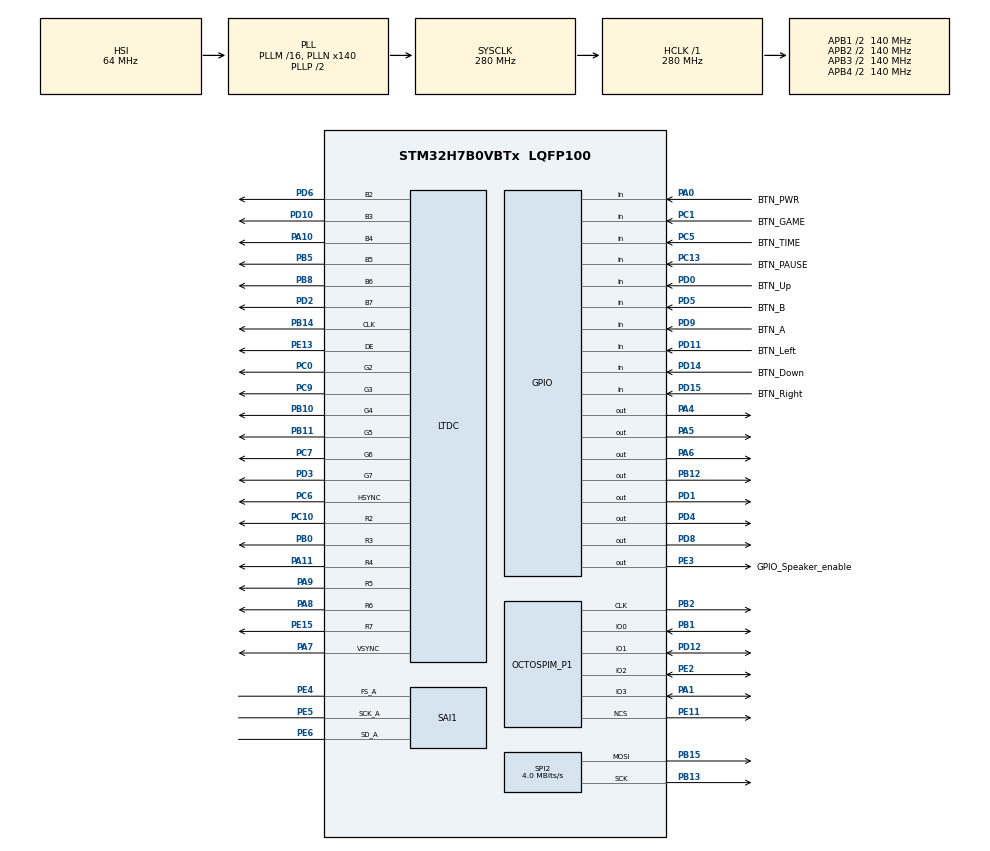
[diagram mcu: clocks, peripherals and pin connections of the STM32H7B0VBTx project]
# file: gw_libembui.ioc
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CORTEX_M7.AccessPermission-Cortex_Memory_Protection_Unit_Region0_Settings=MPU_REGION_FULL_ACCESS
CORTEX_M7.AccessPermission-Cortex_Memory_Protection_Unit_Region1_Settings=MPU_REGION_FULL_ACCESS
CORTEX_M7.BaseAddress-Cortex_Memory_Protection_Unit_Region0_Settings=0x30000000
CORTEX_M7.BaseAddress-Cortex_Memory_Protection_Unit_Region1_Settings=0x24000000
CORTEX_M7.CPU_ICache=Disabled
CORTEX_M7.DisableExec-Cortex_Memory_Protection_Unit_Region0_Settings=MPU_INSTRUCTION_ACCESS_DISABLE
CORTEX_M7.DisableExec-Cortex_Memory_Protection_Unit_Region1_Settings=MPU_INSTRUCTION_ACCESS_DISABLE
CORTEX_M7.Enable-Cortex_Memory_Protection_Unit_Region0_Settings=MPU_REGION_ENABLE
CORTEX_M7.Enable-Cortex_Memory_Protection_Unit_Region1_Settings=MPU_REGION_ENABLE
CORTEX_M7.MPU_Control=MPU_HFNMI_PRIVDEF
CORTEX_M7.Size-Cortex_Memory_Protection_Unit_Region0_Settings=MPU_REGION_SIZE_128KB
CORTEX_M7.Size-Cortex_Memory_Protection_Unit_Region1_Settings=MPU_REGION_SIZE_512KB
Dma.Request0=SAI1_A
Dma.SAI1_A.0.Direction=DMA_MEMORY_TO_PERIPH
Dma.SAI1_A.0.EventEnable=DISABLE
Dma.SAI1_A.0.FIFOMode=DMA_FIFOMODE_ENABLE
Dma.SAI1_A.0.FIFOThreshold=DMA_FIFO_THRESHOLD_FULL
Dma.SAI1_A.0.Instance=DMA1_Stream0
Dma.SAI1_A.0.MemBurst=DMA_MBURST_SINGLE
Dma.SAI1_A.0.MemDataAlignment=DMA_MDATAALIGN_HALFWORD
Dma.SAI1_A.0.MemInc=DMA_MINC_ENABLE
Dma.SAI1_A.0.Mode=DMA_CIRCULAR
Dma.SAI1_A.0.PeriphBurst=DMA_PBURST_SINGLE
Dma.SAI1_A.0.PeriphDataAlignment=DMA_PDATAALIGN_HALFWORD
Dma.SAI1_A.0.PeriphInc=DMA_PINC_DISABLE
Dma.SAI1_A.0.Polarity=HAL_DMAMUX_REQ_GEN_RISING
Dma.SAI1_A.0.Priority=DMA_PRIORITY_LOW
Dma.SAI1_A.0.RequestNumber=1
Dma.SAI1_A.0.SignalID=NONE
Dma.SAI1_A.0.SyncEnable=DISABLE
Dma.SAI1_A.0.SyncPolarity=HAL_DMAMUX_SYNC_NO_EVENT
Dma.SAI1_A.0.SyncRequestNumber=1
Dma.SAI1_A.0.SyncSignalID=NONE
LTDC.ActiveH=240
LTDC.ActiveW=320
LTDC.Alpha0_L0=255
LTDC.Alpha_L0=255
LTDC.FBStartAdress_L0=0x24000000
LTDC.Green_L0=255
LTDC.HBP=51
LTDC.HFP=12
LTDC.HSync=10
LTDC.ImageHeight_L0=240
LTDC.ImageWidth_L0=320
LTDC.Layers=0
LTDC.PCPolarity=LTDC_PCPOLARITY_IIPC
LTDC.PixelFormat_L0=LTDC_PIXEL_FORMAT_L8
LTDC.VBP=6
LTDC.VFP=8
LTDC.VSync=2
LTDC.WindowX1_L0=320
LTDC.WindowY1_L0=240
Mcu.Family=STM32H7
Mcu.Name=STM32H7B0VBTx
Mcu.Package=LQFP100
NVIC.DMA1_Stream0_IRQn=true\:0\:0\:false\:false\:true\:false\:true
NVIC.LTDC_IRQn=true\:0\:0\:false\:false\:true\:true\:true
NVIC.OCTOSPI1_IRQn=true\:0\:0\:false\:true\:true\:1\:true\:true
NVIC.PriorityGroup=NVIC_PRIORITYGROUP_4
NVIC.SAI1_IRQn=true\:0\:0\:false\:false\:true\:true\:true
OCTOSPI1.ChipSelectBoundary=0
OCTOSPI1.ChipSelectHighTime=2
OCTOSPI1.ClockMode=HAL_OSPI_CLOCK_MODE_0
OCTOSPI1.ClockPrescaler=1
OCTOSPI1.DeviceSize=24
OCTOSPI1.FifoThreshold=4
OCTOSPI1.FreeRunningClock=HAL_OSPI_FREERUNCLK_DISABLE
OCTOSPI1.MemoryType=HAL_OSPI_MEMTYPE_MACRONIX
PA0.GPIO_Label=BTN_PWR
PA0.Signal=GPIO_Input
PA1.Mode=OCTOSPI1_IOL_Port1L
PA1.Signal=OCTOSPIM_P1_IO3
PA10.Mode=RGB666
PA10.Signal=LTDC_B4
PA11.Mode=RGB666
PA11.Signal=LTDC_R4
PA4.PinState=GPIO_PIN_SET
PA4.Signal=GPIO_Output
PA5.PinState=GPIO_PIN_SET
PA5.Signal=GPIO_Output
PA6.PinState=GPIO_PIN_SET
PA6.Signal=GPIO_Output
PA7.Mode=RGB666
PA7.Signal=LTDC_VSYNC
PA8.Mode=RGB666
PA8.Signal=LTDC_R6
PA9.Mode=RGB666
PA9.Signal=LTDC_R5
PB0.Mode=RGB666
PB0.Signal=LTDC_R3
PB1.Mode=OCTOSPI1_IOL_Port1L
PB1.Signal=OCTOSPIM_P1_IO0
PB10.Mode=RGB666
PB10.Signal=LTDC_G4
PB11.Mode=RGB666
PB11.Signal=LTDC_G5
PB12.PinState=GPIO_PIN_SET
PB12.Signal=GPIO_Output
PB13.Mode=TX_Only_Simplex_Unidirect_Master
PB13.Signal=SPI2_SCK
PB14.Mode=RGB666
PB14.Signal=LTDC_CLK
PB15.Mode=TX_Only_Simplex_Unidirect_Master
PB15.Signal=SPI2_MOSI
PB2.Mode=O1_P1_CLK
PB2.Signal=OCTOSPIM_P1_CLK
PB5.Mode=RGB666
PB5.Signal=LTDC_B5
PB8.Mode=RGB666
PB8.Signal=LTDC_B6
PC0.Mode=RGB666
PC0.Signal=LTDC_G2
PC1.GPIO_Label=BTN_GAME
PC1.GPIO_PuPd=GPIO_PULLUP
PC1.Signal=GPIO_Input
PC10.Mode=RGB666
PC10.Signal=LTDC_R2
PC13.GPIO_Label=BTN_PAUSE
PC13.GPIO_PuPd=GPIO_PULLUP
PC13.Signal=GPIO_Input
PC14-OSC32_IN.Mode=LSE-External-Oscillator
PC14-OSC32_IN.Signal=RCC_OSC32_IN
PC15-OSC32_OUT.Mode=LSE-External-Oscillator
PC15-OSC32_OUT.Signal=RCC_OSC32_OUT
PC5.GPIO_Label=BTN_TIME
PC5.GPIO_PuPd=GPIO_PULLUP
PC5.Signal=GPIO_Input
PC6.Mode=RGB666
PC6.Signal=LTDC_HSYNC
PC7.Mode=RGB666
PC7.Signal=LTDC_G6
PC9.Mode=RGB666
PC9.Signal=LTDC_G3
PD0.GPIO_Label=BTN_Up
PD0.GPIO_PuPd=GPIO_PULLUP
PD0.Signal=GPIO_Input
PD1.PinState=GPIO_PIN_RESET
PD1.Signal=GPIO_Output
PD10.Mode=RGB666
PD10.Signal=LTDC_B3
PD11.GPIO_Label=BTN_Left
PD11.GPIO_PuPd=GPIO_PULLUP
PD11.Signal=GPIO_Input
PD12.Mode=OCTOSPI1_IOL_Port1L
PD12.Signal=OCTOSPIM_P1_IO1
PD14.GPIO_Label=BTN_Down
PD14.GPIO_PuPd=GPIO_PULLUP
PD14.Signal=GPIO_Input
PD15.GPIO_Label=BTN_Right
PD15.GPIO_PuPd=GPIO_PULLUP
PD15.Signal=GPIO_Input
PD2.Mode=RGB666
PD2.Signal=LTDC_B7
PD3.Mode=RGB666
PD3.Signal=LTDC_G7
PD4.PinState=GPIO_PIN_RESET
PD4.Signal=GPIO_Output
PD5.GPIO_Label=BTN_B
PD5.GPIO_PuPd=GPIO_PULLUP
PD5.Signal=GPIO_Input
PD6.Mode=RGB666
PD6.Signal=LTDC_B2
PD8.PinState=GPIO_PIN_SET
PD8.Signal=GPIO_Output
PD9.GPIO_Label=BTN_A
PD9.GPIO_PuPd=GPIO_PULLUP
PD9.Signal=GPIO_Input
PE11.Mode=OCTOSPI1_Port1_NCS
PE11.Signal=OCTOSPIM_P1_NCS
PE13.Mode=RGB666
PE13.Signal=LTDC_DE
PE15.Mode=RGB666
PE15.Signal=LTDC_R7
PE2.Mode=OCTOSPI1_IOL_Port1L
PE2.Signal=OCTOSPIM_P1_IO2
PE3.GPIO_Label=GPIO_Speaker_enable
PE3.PinState=GPIO_PIN_SET
PE3.Signal=GPIO_Output
PE4.Mode=SAI_A_Master
PE4.Signal=SAI1_FS_A
PE5.Mode=SAI_A_Master
PE5.Signal=SAI1_SCK_A
PE6.Mode=SAI_A_Master
PE6.Signal=SAI1_SD_A
ProjectManager.HeapSize=0x200
ProjectManager.StackSize=0x400
ProjectManager.TargetToolchain=Makefile
RCC.ADCFreq_Value=98304000
RCC.APB1Freq_Value=140000000
RCC.APB2Freq_Value=140000000
RCC.APB3Freq_Value=140000000
RCC.APB4Freq_Value=140000000
RCC.CDPPRE=RCC_APB3_DIV2
RCC.CDPPRE1=RCC_APB1_DIV2
RCC.CDPPRE2=RCC_APB2_DIV2
RCC.CortexFreq_Value=280000000
RCC.DIVM1=16
RCC.DIVM2=25
RCC.DIVM3=4
RCC.DIVN1=140
RCC.DIVN2=192
RCC.DIVN3=9
RCC.DIVP2=5
RCC.DIVR2=5
RCC.DIVR3=24
RCC.HCLKFreq_Value=280000000
RCC.PLL3FRACN=0
RCC.QSPICLockSelection=RCC_OSPICLKSOURCE_CLKP
RCC.RCC_TIM_PRescaler_Selection=RCC_TIMPRES_ACTIVATED
RCC.SAI1CLockSelection=RCC_SAI1CLKSOURCE_PLL2
RCC.SPI123CLockSelection=RCC_SPI123CLKSOURCE_CLKP
RCC.SRDPPRE=RCC_APB4_DIV2
RCC.SYSCLKFreq_VALUE=280000000
RCC.SYSCLKSource=RCC_SYSCLKSOURCE_PLLCLK
RCC.USBFreq_Value=280000000
RCC.VDD_VALUE=1.8
RTC.AsynchPrediv=127
RTC.SynchPrediv=255
SAI1.AudioFrequency-SAI_A_Master=SAI_AUDIO_FREQUENCY_48K
SAI1.ErrorAudioFreq-SAI_A_Master=0.0 %
SAI1.FIFOThreshold-SAI_A_Master=SAI_FIFOTHRESHOLD_FULL
SAI1.InitProtocol-SAI_A_Master=Enable
SAI1.Instance-SAI_A_Master=SAI$Index_Block_A
SAI1.MckOutput=SAI_MCK_OUTPUT_DISABLE
SAI1.MonoStereoMode-SAI_A_Master=SAI_MONOMODE
SAI1.RealAudioFreq-SAI_A_Master=48.0 KHz
SAI1.VirtualMode-SAI_A_Master=VM_MASTER
SAI1.VirtualProtocol-SAI_A_BASIC=VM_BASIC_PROTOCOL
SPI2.BaudRatePrescaler=SPI_BAUDRATEPRESCALER_16
SPI2.CalculateBaudRate=4.0 MBits/s
SPI2.DataSize=SPI_DATASIZE_8BIT
SPI2.Direction=SPI_DIRECTION_2LINES_TXONLY
SPI2.Mode=SPI_MODE_MASTER
SPI2.NSSPMode=SPI_NSS_PULSE_DISABLE
SPI2.VirtualType=VM_MASTER
VP_OCTOSPI1_VS_quad.Mode=quad_mode
VP_RTC_VS_RTC_Activate.Mode=RTC_Enabled
VP_RTC_VS_RTC_Calendar.Mode=RTC_Calendar
VP_SAI1_VP_$IpInstance_SAIA_SAI_BASIC.Mode=SAI_A_BASIC
board=custom

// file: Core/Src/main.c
/* USER CODE BEGIN Header */
/**
  ******************************************************************************
  * @file           : main.c
  * @brief          : Main program body
  ******************************************************************************
  * @attention
  *
  * <h2><center>&copy; Copyright (c) 2020 STMicroelectronics.
  * All rights reserved.</center></h2>
  *
  * This software component is licensed by ST under BSD 3-Clause license,
  * the "License"; You may not use this file except in compliance with the
  * License. You may obtain a copy of the License at:
  *                        opensource.org/licenses/BSD-3-Clause
  *
  ******************************************************************************
  */
/* USER CODE END Header */
#include "main.h"

/* USER CODE BEGIN Includes */
#include "stm32h7xx_hal.h"
#include "gw_buttons.h"
#include "gw_flash.h"
#include "gw_lcd.h"
#include "gw_linker.h"
#include <string.h>
#include <assert.h>
/* USER CODE END Includes */

LTDC_HandleTypeDef hltdc;

OSPI_HandleTypeDef hospi1;

RTC_HandleTypeDef hrtc;

SAI_HandleTypeDef hsai_BlockA1;
DMA_HandleTypeDef hdma_sai1_a;

SPI_HandleTypeDef hspi2;

/* USER CODE BEGIN PV */

// uint16_t audiobuffer[48000] __attribute__((section (".audio")));
uint8_t logbuf[1024 * 4];
uint32_t log_idx;

uint32_t boot_buttons;

#define BOOT_MAGIC_STANDBY  0xfedebeda
#define BOOT_MAGIC_RESET    0x1fa1afe1
__attribute__((used)) __attribute__((section (".persistent"))) volatile uint32_t boot_magic;

/* USER CODE END PV */

void SystemClock_Config(void);
static void MPU_Config(void);
static void MX_GPIO_Init(void);
static void MX_DMA_Init(void);
static void MX_LTDC_Init(void);
static void MX_SPI2_Init(void);
static void MX_OCTOSPI1_Init(void);
static void MX_SAI1_Init(void);
static void MX_RTC_Init(void);
static void MX_NVIC_Init(void);
/* USER CODE BEGIN PFP */

void app_main(void);

/* USER CODE END PFP */

/* USER CODE BEGIN 0 */

#if 1
int _write(int file, char *ptr, int len)
{
  if (log_idx + len + 1 > sizeof(logbuf)) {
    log_idx = 0;
  }

  memcpy(&logbuf[log_idx], ptr, len);
  log_idx += len;
  logbuf[log_idx + 1] = '\0';

  return len;
}
#endif

void store_save(uint8_t *data, size_t size) {
  // Sanity checks for save-game support.
  uint32_t save_size = &__SAVE_END__ - &__SAVE_START__;
  if(save_size < 192 * 1024) {
    // Invalid savegame size
    return;
  }

  uint32_t save_address = &__SAVE_START__ - &__EXTFLASH_START__;

  if(size > (192 * 1024)) {
    // Max Save size
    Error_Handler();
  }
  OSPI_DisableMemoryMapped(&hospi1);
  OSPI_NOR_WriteEnable(&hospi1);

  uint32_t i;
  for (i = 0; i < save_size / (64*1024); i++) {
    OSPI_BlockErase(&hospi1, save_address + i * 64 * 1024);
  }

  OSPI_Program(&hospi1, save_address, data, size);
  OSPI_EnableMemoryMappedMode(&hospi1);
}

void GW_EnterDeepSleep(void)
{
  // Stop SAI DMA (audio)
  HAL_SAI_DMAStop(&hsai_BlockA1);

  // Enable wakup by PIN1, the power button
  HAL_PWR_EnableWakeUpPin(PWR_WAKEUP_PIN1_LOW);

  lcd_backlight_off();

  // Leave a trace in RAM that we entered standby mode
  boot_magic = BOOT_MAGIC_STANDBY;

  // Delay 500ms to give us a chance to attach a debugger in case
  // we end up in a suspend-loop.
  HAL_Delay(500);

  HAL_PWR_EnterSTANDBYMode();

  // Execution stops here, this function will not return
  while(1) {
    __NOP();
  }

}

// Returns buttons that were pressed at boot
uint32_t GW_GetBootButtons(void)
{
  return boot_buttons;
}

// Workaround for being able to run with -D_FORTIFY_SOURCE=1
static void memcpy_no_check(uint32_t *dst, uint32_t *src, size_t len)
{
  assert((len & 0b11) == 0);

  uint32_t *end = dst + len / 4;
  while (dst != end) {
    *(dst++) = *(src++);
  }
}

/* USER CODE END 0 */

int main(void)
{
  /* USER CODE BEGIN 1 */

  for(int i = 0; i < 1000000; i++) {
    __NOP();
  }

  // Nullpointer redzone
  memset(0, '\x41', (size_t)&__NULLPTR_LENGTH__);

  switch (boot_magic) {
  case BOOT_MAGIC_STANDBY:
    printf("Boot from standby. boot_magic=0x%08x\n", boot_magic);
    break;
  case BOOT_MAGIC_RESET:
    printf("Boot from warm reset. boot_magic=0x%08x\n", boot_magic);
    break;
  default:
    printf("Boot from brownout? boot_magic=0x%08x\n", boot_magic);
    break;
  }

  // Leave a trace that indicates a warm reset
  boot_magic = BOOT_MAGIC_RESET;

  /* USER CODE END 1 */

  /* MPU Configuration--------------------------------------------------------*/
  MPU_Config();

  /* MCU Configuration--------------------------------------------------------*/

  /* Reset of all peripherals, Initializes the Flash interface and the Systick. */
  HAL_Init();

  /* USER CODE BEGIN Init */

  // Power pin as Input
  HAL_PWR_DisableWakeUpPin(PWR_WAKEUP_PIN1_LOW);

  /* USER CODE END Init */

  /* Configure the system clock */
  SystemClock_Config();

  /* Initialize all configured peripherals */
  MX_GPIO_Init();
  MX_DMA_Init();
  MX_LTDC_Init();
  MX_SPI2_Init();
  MX_OCTOSPI1_Init();
  MX_SAI1_Init();
  MX_RTC_Init();

  /* Initialize interrupts */
  MX_NVIC_Init();
  /* USER CODE BEGIN 2 */

  // Save the button states as early as possible
  boot_buttons = buttons_get();

  // Keep this
  HAL_Delay(500);

  lcd_init(&hspi2, &hltdc);
  memset(framebuffer1, 0x10, sizeof(framebuffer1));

  /* USER CODE END 2 */

  /* Infinite loop */
  /* USER CODE BEGIN WHILE */

  // SCB_EnableICache();
  // SCB_EnableDCache();

  // Initialize the external flash

  // SPI_MODE or QUAD_MODE (IS25WP128F & co) or HALF_QUAD_MODE (MX25U8035F/Nintendo Stock Flash)
  quad_mode_t quad_mode = HALF_QUAD_MODE;

  OSPI_Init(&hospi1, quad_mode);

  OSPI_EnableMemoryMappedMode(&hospi1);

  // Copy instructions and data from extflash to axiram
  extern uint32_t _siramdata;
  extern uint32_t _sram_text;
  extern uint32_t _eram_data;
  uint32_t copy_areas[4];

  copy_areas[0] = (uint32_t) &_siramdata;  // 0x90000000
  copy_areas[1] = (uint32_t) &_sram_text;  // 0x24000000
  copy_areas[2] = (uint32_t) &_eram_data;  // 0x24000000 + length
  copy_areas[3] = copy_areas[2] - copy_areas[1];
  memcpy_no_check(copy_areas[1], copy_areas[0], copy_areas[2] - copy_areas[1]);

  // Sanity check, sometimes this is triggered
  uint32_t add = 0x90000000;
  uint32_t* ptr = (uint32_t*)add;
  if(*ptr == 0x88888888) {
    Error_Handler();
  }

  // Launch the demo
  app_main();

  while (1)
  {
    /* USER CODE END WHILE */

  }
}

void SystemClock_Config(void)
{
  RCC_OscInitTypeDef RCC_OscInitStruct = {0};
  RCC_ClkInitTypeDef RCC_ClkInitStruct = {0};
  RCC_PeriphCLKInitTypeDef PeriphClkInitStruct = {0};

  /** Supply configuration update enable
  */
  HAL_PWREx_ConfigSupply(PWR_LDO_SUPPLY);
  /** Configure the main internal regulator output voltage
  */
  __HAL_PWR_VOLTAGESCALING_CONFIG(PWR_REGULATOR_VOLTAGE_SCALE0);

  while(!__HAL_PWR_GET_FLAG(PWR_FLAG_VOSRDY)) {}
  /** Macro to configure the PLL clock source
  */
  __HAL_RCC_PLL_PLLSOURCE_CONFIG(RCC_PLLSOURCE_HSI);
  /** Initializes the RCC Oscillators according to the specified parameters
  * in the RCC_OscInitTypeDef structure.
  */
  RCC_OscInitStruct.OscillatorType = RCC_OSCILLATORTYPE_HSI|RCC_OSCILLATORTYPE_LSI;
  RCC_OscInitStruct.HSIState = RCC_HSI_DIV1;
  RCC_OscInitStruct.HSICalibrationValue = RCC_HSICALIBRATION_DEFAULT;
  RCC_OscInitStruct.LSIState = RCC_LSI_ON;
  RCC_OscInitStruct.PLL.PLLState = RCC_PLL_ON;
  RCC_OscInitStruct.PLL.PLLSource = RCC_PLLSOURCE_HSI;
  RCC_OscInitStruct.PLL.PLLM = 16;
  RCC_OscInitStruct.PLL.PLLN = 140;
  RCC_OscInitStruct.PLL.PLLP = 2;
  RCC_OscInitStruct.PLL.PLLQ = 2;
  RCC_OscInitStruct.PLL.PLLR = 2;
  RCC_OscInitStruct.PLL.PLLRGE = RCC_PLL1VCIRANGE_2;
  RCC_OscInitStruct.PLL.PLLVCOSEL = RCC_PLL1VCOWIDE;
  RCC_OscInitStruct.PLL.PLLFRACN = 0;
  if (HAL_RCC_OscConfig(&RCC_OscInitStruct) != HAL_OK)
  {
    Error_Handler();
  }
  /** Initializes the CPU, AHB and APB buses clocks
  */
  RCC_ClkInitStruct.ClockType = RCC_CLOCKTYPE_HCLK|RCC_CLOCKTYPE_SYSCLK
                              |RCC_CLOCKTYPE_PCLK1|RCC_CLOCKTYPE_PCLK2
                              |RCC_CLOCKTYPE_D3PCLK1|RCC_CLOCKTYPE_D1PCLK1;
  RCC_ClkInitStruct.SYSCLKSource = RCC_SYSCLKSOURCE_PLLCLK;
  RCC_ClkInitStruct.SYSCLKDivider = RCC_SYSCLK_DIV1;
  RCC_ClkInitStruct.AHBCLKDivider = RCC_HCLK_DIV1;
  RCC_ClkInitStruct.APB3CLKDivider = RCC_APB3_DIV2;
  RCC_ClkInitStruct.APB1CLKDivider = RCC_APB1_DIV2;
  RCC_ClkInitStruct.APB2CLKDivider = RCC_APB2_DIV2;
  RCC_ClkInitStruct.APB4CLKDivider = RCC_APB4_DIV2;

  if (HAL_RCC_ClockConfig(&RCC_ClkInitStruct, FLASH_LATENCY_7) != HAL_OK)
  {
    Error_Handler();
  }
  PeriphClkInitStruct.PeriphClockSelection = RCC_PERIPHCLK_RTC|RCC_PERIPHCLK_LTDC
                              |RCC_PERIPHCLK_SPI2|RCC_PERIPHCLK_SAI1
                              |RCC_PERIPHCLK_OSPI|RCC_PERIPHCLK_CKPER;
  PeriphClkInitStruct.PLL2.PLL2M = 25;
  PeriphClkInitStruct.PLL2.PLL2N = 192;
  PeriphClkInitStruct.PLL2.PLL2P = 5;
  PeriphClkInitStruct.PLL2.PLL2Q = 2;
  PeriphClkInitStruct.PLL2.PLL2R = 5;
  PeriphClkInitStruct.PLL2.PLL2RGE = RCC_PLL2VCIRANGE_1;
  PeriphClkInitStruct.PLL2.PLL2VCOSEL = RCC_PLL2VCOWIDE;
  PeriphClkInitStruct.PLL2.PLL2FRACN = 0;
  PeriphClkInitStruct.PLL3.PLL3M = 4;
  PeriphClkInitStruct.PLL3.PLL3N = 9;
  PeriphClkInitStruct.PLL3.PLL3P = 2;
  PeriphClkInitStruct.PLL3.PLL3Q = 2;
  PeriphClkInitStruct.PLL3.PLL3R = 24;
  PeriphClkInitStruct.PLL3.PLL3RGE = RCC_PLL3VCIRANGE_3;
  PeriphClkInitStruct.PLL3.PLL3VCOSEL = RCC_PLL3VCOWIDE;
  PeriphClkInitStruct.PLL3.PLL3FRACN = 0;
  PeriphClkInitStruct.OspiClockSelection = RCC_OSPICLKSOURCE_CLKP;
  PeriphClkInitStruct.CkperClockSelection = RCC_CLKPSOURCE_HSI;
  PeriphClkInitStruct.Sai1ClockSelection = RCC_SAI1CLKSOURCE_PLL2;
  PeriphClkInitStruct.Spi123ClockSelection = RCC_SPI123CLKSOURCE_CLKP;
  PeriphClkInitStruct.RTCClockSelection = RCC_RTCCLKSOURCE_LSI;
  PeriphClkInitStruct.TIMPresSelection = RCC_TIMPRES_ACTIVATED;

  if (HAL_RCCEx_PeriphCLKConfig(&PeriphClkInitStruct) != HAL_OK)
  {
    Error_Handler();
  }
}

/**
  * @brief NVIC Configuration.
  * @retval None
  */
static void MX_NVIC_Init(void)
{
  /* OCTOSPI1_IRQn interrupt configuration */
  HAL_NVIC_SetPriority(OCTOSPI1_IRQn, 0, 0);
  HAL_NVIC_EnableIRQ(OCTOSPI1_IRQn);
}

static void MX_LTDC_Init(void)
{

  LTDC_LayerCfgTypeDef pLayerCfg = {0};

  hltdc.Instance = LTDC;
  hltdc.Init.HSPolarity = LTDC_HSPOLARITY_AL;
  hltdc.Init.VSPolarity = LTDC_VSPOLARITY_AL;
  hltdc.Init.DEPolarity = LTDC_DEPOLARITY_AL;
  hltdc.Init.PCPolarity = LTDC_PCPOLARITY_IIPC;
  hltdc.Init.HorizontalSync = 9;
  hltdc.Init.VerticalSync = 1;
  hltdc.Init.AccumulatedHBP = 60;
  hltdc.Init.AccumulatedVBP = 7;
  hltdc.Init.AccumulatedActiveW = 380;
  hltdc.Init.AccumulatedActiveH = 247;
  hltdc.Init.TotalWidth = 392;
  hltdc.Init.TotalHeigh = 255;
  hltdc.Init.Backcolor.Blue = 0;
  hltdc.Init.Backcolor.Green = 0;
  hltdc.Init.Backcolor.Red = 0;
  if (HAL_LTDC_Init(&hltdc) != HAL_OK)
  {
    Error_Handler();
  }
  pLayerCfg.WindowX0 = 0;
  pLayerCfg.WindowX1 = 320;
  pLayerCfg.WindowY0 = 0;
  pLayerCfg.WindowY1 = 240;
#ifdef GW_LCD_MODE_LUT8
  pLayerCfg.PixelFormat = LTDC_PIXEL_FORMAT_L8;
#else
  pLayerCfg.PixelFormat = LTDC_PIXEL_FORMAT_RGB565;
#endif
  pLayerCfg.Alpha = 255;
  pLayerCfg.Alpha0 = 255;
  pLayerCfg.BlendingFactor1 = LTDC_BLENDING_FACTOR1_CA;
  pLayerCfg.BlendingFactor2 = LTDC_BLENDING_FACTOR2_CA;
  pLayerCfg.FBStartAdress = 0x24000000;
  pLayerCfg.ImageWidth = 320;
  pLayerCfg.ImageHeight = 240;
  pLayerCfg.Backcolor.Blue = 0;
  pLayerCfg.Backcolor.Green = 255;
  pLayerCfg.Backcolor.Red = 0;
  if (HAL_LTDC_ConfigLayer(&hltdc, &pLayerCfg, 0) != HAL_OK)
  {
    Error_Handler();
  }

}

static void MX_OCTOSPI1_Init(void)
{

  OSPIM_CfgTypeDef sOspiManagerCfg = {0};

  /* OCTOSPI1 parameter configuration*/
  hospi1.Instance = OCTOSPI1;
  hospi1.Init.FifoThreshold = 4;
  hospi1.Init.DualQuad = HAL_OSPI_DUALQUAD_DISABLE;
  hospi1.Init.MemoryType = HAL_OSPI_MEMTYPE_MACRONIX;
  hospi1.Init.DeviceSize = 24;
  hospi1.Init.ChipSelectHighTime = 2;
  hospi1.Init.FreeRunningClock = HAL_OSPI_FREERUNCLK_DISABLE;
  hospi1.Init.ClockMode = HAL_OSPI_CLOCK_MODE_0;
  hospi1.Init.WrapSize = HAL_OSPI_WRAP_NOT_SUPPORTED;
  hospi1.Init.ClockPrescaler = 1;
  hospi1.Init.SampleShifting = HAL_OSPI_SAMPLE_SHIFTING_NONE;
  hospi1.Init.DelayHoldQuarterCycle = HAL_OSPI_DHQC_DISABLE;
  hospi1.Init.ChipSelectBoundary = 0;
  hospi1.Init.ClkChipSelectHighTime = 0;
  hospi1.Init.DelayBlockBypass = HAL_OSPI_DELAY_BLOCK_BYPASSED;
  hospi1.Init.MaxTran = 0;
  hospi1.Init.Refresh = 0;
  if (HAL_OSPI_Init(&hospi1) != HAL_OK)
  {
    Error_Handler();
  }
  sOspiManagerCfg.ClkPort = 1;
  sOspiManagerCfg.NCSPort = 1;
  sOspiManagerCfg.IOLowPort = HAL_OSPIM_IOPORT_1_LOW;
  if (HAL_OSPIM_Config(&hospi1, &sOspiManagerCfg, HAL_OSPI_TIMEOUT_DEFAULT_VALUE) != HAL_OK)
  {
    Error_Handler();
  }

}

static void MX_RTC_Init(void)
{

  RTC_TimeTypeDef sTime = {0};
  RTC_DateTypeDef sDate = {0};

  /** Initialize RTC Only
  */
  hrtc.Instance = RTC;
  hrtc.Init.HourFormat = RTC_HOURFORMAT_24;
  hrtc.Init.AsynchPrediv = 0;    // Currently this is configured to allow for profiling
  hrtc.Init.SynchPrediv = 32250; // This the internal 32khz oscillator calibrated to one specific unit
  hrtc.Init.OutPut = RTC_OUTPUT_DISABLE;
  hrtc.Init.OutPutPolarity = RTC_OUTPUT_POLARITY_HIGH;
  hrtc.Init.OutPutType = RTC_OUTPUT_TYPE_OPENDRAIN;
  hrtc.Init.OutPutRemap = RTC_OUTPUT_REMAP_NONE;
  if (HAL_RTC_Init(&hrtc) != HAL_OK)
  {
    Error_Handler();
  }

  /** Initialize RTC and set the Time and Date
  */
  sTime.Hours = 0x0;
  sTime.Minutes = 0x0;
  sTime.Seconds = 0x0;
  sTime.DayLightSaving = RTC_DAYLIGHTSAVING_NONE;
  sTime.StoreOperation = RTC_STOREOPERATION_RESET;
  if (HAL_RTC_SetTime(&hrtc, &sTime, RTC_FORMAT_BCD) != HAL_OK)
  {
    Error_Handler();
  }
  sDate.WeekDay = RTC_WEEKDAY_MONDAY;
  sDate.Month = RTC_MONTH_JANUARY;
  sDate.Date = 0x1;
  sDate.Year = 0x0;

  if (HAL_RTC_SetDate(&hrtc, &sDate, RTC_FORMAT_BCD) != HAL_OK)
  {
    Error_Handler();
  }

}

static void MX_SAI1_Init(void)
{

  hsai_BlockA1.Instance = SAI1_Block_A;
  hsai_BlockA1.Init.AudioMode = SAI_MODEMASTER_TX;
  hsai_BlockA1.Init.Synchro = SAI_ASYNCHRONOUS;
  hsai_BlockA1.Init.OutputDrive = SAI_OUTPUTDRIVE_DISABLE;
  hsai_BlockA1.Init.NoDivider = SAI_MASTERDIVIDER_ENABLE;
  hsai_BlockA1.Init.FIFOThreshold = SAI_FIFOTHRESHOLD_FULL;
  hsai_BlockA1.Init.AudioFrequency = SAI_AUDIO_FREQUENCY_48K;
  hsai_BlockA1.Init.SynchroExt = SAI_SYNCEXT_DISABLE;
  hsai_BlockA1.Init.MonoStereoMode = SAI_MONOMODE;
  hsai_BlockA1.Init.CompandingMode = SAI_NOCOMPANDING;
  hsai_BlockA1.Init.TriState = SAI_OUTPUT_NOTRELEASED;
  if (HAL_SAI_InitProtocol(&hsai_BlockA1, SAI_I2S_STANDARD, SAI_PROTOCOL_DATASIZE_16BIT, 2) != HAL_OK)
  {
    Error_Handler();
  }

}

static void MX_SPI2_Init(void)
{

  /* SPI2 parameter configuration*/
  hspi2.Instance = SPI2;
  hspi2.Init.Mode = SPI_MODE_MASTER;
  hspi2.Init.Direction = SPI_DIRECTION_2LINES_TXONLY;
  hspi2.Init.DataSize = SPI_DATASIZE_8BIT;
  hspi2.Init.CLKPolarity = SPI_POLARITY_LOW;
  hspi2.Init.CLKPhase = SPI_PHASE_1EDGE;
  hspi2.Init.NSS = SPI_NSS_SOFT;
  hspi2.Init.BaudRatePrescaler = SPI_BAUDRATEPRESCALER_16;
  hspi2.Init.FirstBit = SPI_FIRSTBIT_MSB;
  hspi2.Init.TIMode = SPI_TIMODE_DISABLE;
  hspi2.Init.CRCCalculation = SPI_CRCCALCULATION_DISABLE;
  hspi2.Init.CRCPolynomial = 0x0;
  hspi2.Init.NSSPMode = SPI_NSS_PULSE_DISABLE;
  hspi2.Init.NSSPolarity = SPI_NSS_POLARITY_LOW;
  hspi2.Init.FifoThreshold = SPI_FIFO_THRESHOLD_01DATA;
  hspi2.Init.TxCRCInitializationPattern = SPI_CRC_INITIALIZATION_ALL_ZERO_PATTERN;
  hspi2.Init.RxCRCInitializationPattern = SPI_CRC_INITIALIZATION_ALL_ZERO_PATTERN;
  hspi2.Init.MasterSSIdleness = SPI_MASTER_SS_IDLENESS_00CYCLE;
  hspi2.Init.MasterInterDataIdleness = SPI_MASTER_INTERDATA_IDLENESS_00CYCLE;
  hspi2.Init.MasterReceiverAutoSusp = SPI_MASTER_RX_AUTOSUSP_DISABLE;
  hspi2.Init.MasterKeepIOState = SPI_MASTER_KEEP_IO_STATE_DISABLE;
  hspi2.Init.IOSwap = SPI_IO_SWAP_DISABLE;
  if (HAL_SPI_Init(&hspi2) != HAL_OK)
  {
    Error_Handler();
  }

}

static void MX_DMA_Init(void)
{

  /* DMA controller clock enable */
  __HAL_RCC_DMA1_CLK_ENABLE();

  /* DMA interrupt init */
  /* DMA1_Stream0_IRQn interrupt configuration */
  HAL_NVIC_SetPriority(DMA1_Stream0_IRQn, 0, 0);
  HAL_NVIC_EnableIRQ(DMA1_Stream0_IRQn);

}

static void MX_GPIO_Init(void)
{
  GPIO_InitTypeDef GPIO_InitStruct = {0};

  /* GPIO Ports Clock Enable */
  __HAL_RCC_GPIOE_CLK_ENABLE();
  __HAL_RCC_GPIOC_CLK_ENABLE();
  __HAL_RCC_GPIOA_CLK_ENABLE();
  __HAL_RCC_GPIOB_CLK_ENABLE();
  __HAL_RCC_GPIOD_CLK_ENABLE();

  /*Configure GPIO pin Output Level */
  HAL_GPIO_WritePin(GPIO_Speaker_enable_GPIO_Port, GPIO_Speaker_enable_Pin, GPIO_PIN_SET);

  /*Configure GPIO pin Output Level */
  HAL_GPIO_WritePin(GPIOA, GPIO_PIN_4|GPIO_PIN_5|GPIO_PIN_6, GPIO_PIN_SET);

  /*Configure GPIO pin Output Level */
  HAL_GPIO_WritePin(GPIOB, GPIO_PIN_12, GPIO_PIN_SET);

  /*Configure GPIO pin Output Level */
  HAL_GPIO_WritePin(GPIOD, GPIO_PIN_8, GPIO_PIN_SET);

  /*Configure GPIO pin Output Level */
  HAL_GPIO_WritePin(GPIOD, GPIO_PIN_1|GPIO_PIN_4, GPIO_PIN_RESET);

  /*Configure GPIO pin : GPIO_Speaker_enable_Pin */
  GPIO_InitStruct.Pin = GPIO_Speaker_enable_Pin;
  GPIO_InitStruct.Mode = GPIO_MODE_OUTPUT_PP;
  GPIO_InitStruct.Pull = GPIO_NOPULL;
  GPIO_InitStruct.Speed = GPIO_SPEED_FREQ_LOW;
  HAL_GPIO_Init(GPIO_Speaker_enable_GPIO_Port, &GPIO_InitStruct);

  /*Configure GPIO pins : BTN_PAUSE_Pin BTN_GAME_Pin BTN_TIME_Pin */
  GPIO_InitStruct.Pin = BTN_PAUSE_Pin|BTN_GAME_Pin|BTN_TIME_Pin;
  GPIO_InitStruct.Mode = GPIO_MODE_INPUT;
  GPIO_InitStruct.Pull = GPIO_PULLUP;
  HAL_GPIO_Init(GPIOC, &GPIO_InitStruct);

  /*Configure GPIO pin : BTN_PWR_Pin */
  GPIO_InitStruct.Pin = BTN_PWR_Pin;
  GPIO_InitStruct.Mode = GPIO_MODE_INPUT;
  GPIO_InitStruct.Pull = GPIO_NOPULL;
  HAL_GPIO_Init(BTN_PWR_GPIO_Port, &GPIO_InitStruct);

  /*Configure GPIO pins : PA4 PA5 PA6 */
  GPIO_InitStruct.Pin = GPIO_PIN_4|GPIO_PIN_5|GPIO_PIN_6;
  GPIO_InitStruct.Mode = GPIO_MODE_OUTPUT_PP;
  GPIO_InitStruct.Pull = GPIO_NOPULL;
  GPIO_InitStruct.Speed = GPIO_SPEED_FREQ_LOW;
  HAL_GPIO_Init(GPIOA, &GPIO_InitStruct);

  /*Configure GPIO pin : PB12 */
  GPIO_InitStruct.Pin = GPIO_PIN_12;
  GPIO_InitStruct.Mode = GPIO_MODE_OUTPUT_PP;
  GPIO_InitStruct.Pull = GPIO_NOPULL;
  GPIO_InitStruct.Speed = GPIO_SPEED_FREQ_LOW;
  HAL_GPIO_Init(GPIOB, &GPIO_InitStruct);

  /*Configure GPIO pins : PD8 PD1 PD4 */
  GPIO_InitStruct.Pin = GPIO_PIN_8|GPIO_PIN_1|GPIO_PIN_4;
  GPIO_InitStruct.Mode = GPIO_MODE_OUTPUT_PP;
  GPIO_InitStruct.Pull = GPIO_NOPULL;
  GPIO_InitStruct.Speed = GPIO_SPEED_FREQ_LOW;
  HAL_GPIO_Init(GPIOD, &GPIO_InitStruct);

  /*Configure GPIO pins : BTN_A_Pin BTN_Left_Pin BTN_Down_Pin BTN_Right_Pin
                           BTN_Up_Pin BTN_B_Pin */
  GPIO_InitStruct.Pin = BTN_A_Pin|BTN_Left_Pin|BTN_Down_Pin|BTN_Right_Pin
                          |BTN_Up_Pin|BTN_B_Pin;
  GPIO_InitStruct.Mode = GPIO_MODE_INPUT;
  GPIO_InitStruct.Pull = GPIO_PULLUP;
  HAL_GPIO_Init(GPIOD, &GPIO_InitStruct);

}

int __builtin_popcount (unsigned int x);

/* MPU Configuration */

void MPU_Config(void)
{
  MPU_Region_InitTypeDef MPU_InitStruct = {0};

  /* Disables the MPU */
  HAL_MPU_Disable();
  /** Initializes and configures the Region and the memory to be protected
  */
  MPU_InitStruct.Enable = MPU_REGION_ENABLE;
  MPU_InitStruct.Number = MPU_REGION_NUMBER0;
  MPU_InitStruct.BaseAddress = 0x30000000;
  MPU_InitStruct.Size = MPU_REGION_SIZE_128KB;
  MPU_InitStruct.SubRegionDisable = 0x0;
  MPU_InitStruct.TypeExtField = MPU_TEX_LEVEL0;
  MPU_InitStruct.AccessPermission = MPU_REGION_FULL_ACCESS;
  MPU_InitStruct.DisableExec = MPU_INSTRUCTION_ACCESS_DISABLE;
  MPU_InitStruct.IsShareable = MPU_ACCESS_NOT_SHAREABLE;
  MPU_InitStruct.IsCacheable = MPU_ACCESS_NOT_CACHEABLE;
  MPU_InitStruct.IsBufferable = MPU_ACCESS_NOT_BUFFERABLE;

  HAL_MPU_ConfigRegion(&MPU_InitStruct);

  if (__builtin_popcount((size_t)&__NULLPTR_LENGTH__) == 1) {
    /* Only continue if a single bit set in __NULLPTR_LENGTH__.
     * The MPU can only handle memory sizes which are a power of 2 */
    MPU_InitStruct.Enable = MPU_REGION_ENABLE;
    MPU_InitStruct.Number = MPU_REGION_NUMBER1;
    MPU_InitStruct.BaseAddress = 0x00000000;
    /* 128B --> 0x06, 256B --> 0x07, 512B --> 0x08, ... */
    MPU_InitStruct.Size = ffs((size_t)&__NULLPTR_LENGTH__) - 2;
    MPU_InitStruct.SubRegionDisable = 0x0;
    MPU_InitStruct.TypeExtField = MPU_TEX_LEVEL0;
    MPU_InitStruct.AccessPermission = MPU_REGION_NO_ACCESS;
    MPU_InitStruct.DisableExec = MPU_INSTRUCTION_ACCESS_DISABLE;
    MPU_InitStruct.IsShareable = MPU_ACCESS_NOT_SHAREABLE;
    MPU_InitStruct.IsCacheable = MPU_ACCESS_NOT_CACHEABLE;
    MPU_InitStruct.IsBufferable = MPU_ACCESS_NOT_BUFFERABLE;

    HAL_MPU_ConfigRegion(&MPU_InitStruct);
  }

#ifdef DISABLE_AHBRAM_DCACHE
  /** Initializes and configures the Region and the memory to be protected
  */
  MPU_InitStruct.Enable = MPU_REGION_ENABLE;
  MPU_InitStruct.Number = MPU_REGION_NUMBER1;
  MPU_InitStruct.BaseAddress = 0x24000000;
  MPU_InitStruct.Size = MPU_REGION_SIZE_512KB;
  MPU_InitStruct.SubRegionDisable = 0x0;
  MPU_InitStruct.TypeExtField = MPU_TEX_LEVEL0;
  MPU_InitStruct.AccessPermission = MPU_REGION_FULL_ACCESS;
  MPU_InitStruct.DisableExec = MPU_INSTRUCTION_ACCESS_DISABLE;
  MPU_InitStruct.IsShareable = MPU_ACCESS_NOT_SHAREABLE;
  MPU_InitStruct.IsCacheable = MPU_ACCESS_NOT_CACHEABLE;
  MPU_InitStruct.IsBufferable = MPU_ACCESS_NOT_BUFFERABLE;

  HAL_MPU_ConfigRegion(&MPU_InitStruct);
#endif

  /* Enables the MPU */
  HAL_MPU_Enable(MPU_HFNMI_PRIVDEF);

}

void Error_Handler(void)
{
  /* USER CODE BEGIN Error_Handler_Debug */
  /* User can add his own implementation to report the HAL error return state */
  __disable_irq();
  while(1) {
    // Blink display to indicate failure
    lcd_backlight_off();
    HAL_Delay(500);
    lcd_backlight_on();
    HAL_Delay(500);
  }
  /* USER CODE END Error_Handler_Debug */
}

/************************ (C) COPYRIGHT STMicroelectronics *****END OF FILE****/
